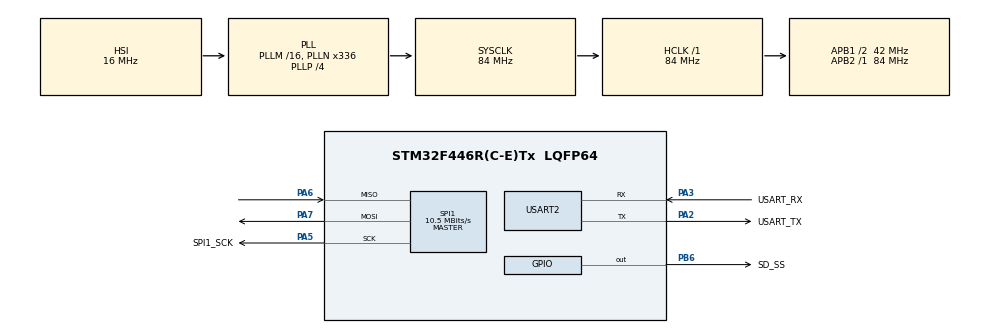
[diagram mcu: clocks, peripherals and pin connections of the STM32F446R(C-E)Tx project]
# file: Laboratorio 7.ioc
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Dma.Request0=USART2_RX
Dma.Request1=USART2_TX
Dma.USART2_RX.0.Direction=DMA_PERIPH_TO_MEMORY
Dma.USART2_RX.0.FIFOMode=DMA_FIFOMODE_DISABLE
Dma.USART2_RX.0.Instance=DMA1_Stream5
Dma.USART2_RX.0.MemDataAlignment=DMA_MDATAALIGN_BYTE
Dma.USART2_RX.0.MemInc=DMA_MINC_ENABLE
Dma.USART2_RX.0.Mode=DMA_NORMAL
Dma.USART2_RX.0.PeriphDataAlignment=DMA_PDATAALIGN_BYTE
Dma.USART2_RX.0.PeriphInc=DMA_PINC_DISABLE
Dma.USART2_RX.0.Priority=DMA_PRIORITY_LOW
Dma.USART2_TX.1.Direction=DMA_MEMORY_TO_PERIPH
Dma.USART2_TX.1.FIFOMode=DMA_FIFOMODE_DISABLE
Dma.USART2_TX.1.Instance=DMA1_Stream6
Dma.USART2_TX.1.MemDataAlignment=DMA_MDATAALIGN_BYTE
Dma.USART2_TX.1.MemInc=DMA_MINC_ENABLE
Dma.USART2_TX.1.Mode=DMA_NORMAL
Dma.USART2_TX.1.PeriphDataAlignment=DMA_PDATAALIGN_BYTE
Dma.USART2_TX.1.PeriphInc=DMA_PINC_DISABLE
Dma.USART2_TX.1.Priority=DMA_PRIORITY_LOW
FATFS._MAX_SS=4096
FATFS._USE_LFN=1
Mcu.Family=STM32F4
Mcu.Name=STM32F446R(C-E)Tx
Mcu.Package=LQFP64
NVIC.DMA1_Stream5_IRQn=true\:0\:0\:false\:false\:true\:false\:true\:true
NVIC.DMA1_Stream6_IRQn=true\:0\:0\:false\:false\:true\:false\:true\:true
NVIC.PriorityGroup=NVIC_PRIORITYGROUP_0
NVIC.USART2_IRQn=true\:0\:0\:false\:false\:true\:true\:true\:true
PA2.GPIO_Label=USART_TX
PA2.Mode=Asynchronous
PA2.Signal=USART2_TX
PA3.GPIO_Label=USART_RX
PA3.Mode=Asynchronous
PA3.Signal=USART2_RX
PA5.GPIO_Label=SPI1_SCK
PA5.Mode=Full_Duplex_Master
PA5.Signal=SPI1_SCK
PA6.Mode=Full_Duplex_Master
PA6.Signal=SPI1_MISO
PA7.Mode=Full_Duplex_Master
PA7.Signal=SPI1_MOSI
PB6.GPIO_Label=SD_SS
PB6.GPIO_Speed=GPIO_SPEED_FREQ_MEDIUM
PB6.PinState=GPIO_PIN_SET
PB6.Signal=GPIO_Output
PC14-OSC32_IN.Mode=LSE-External-Oscillator
PC14-OSC32_IN.Signal=RCC_OSC32_IN
PC15-OSC32_OUT.Mode=LSE-External-Oscillator
PC15-OSC32_OUT.Signal=RCC_OSC32_OUT
PH0-OSC_IN.Mode=HSE-External-Oscillator
PH0-OSC_IN.Signal=RCC_OSC_IN
PH1-OSC_OUT.Mode=HSE-External-Oscillator
PH1-OSC_OUT.Signal=RCC_OSC_OUT
ProjectManager.HeapSize=0x200
ProjectManager.StackSize=0x400
ProjectManager.TargetToolchain=STM32CubeIDE
RCC.48MHZClocksFreq_Value=84000000
RCC.AHBFreq_Value=84000000
RCC.APB1CLKDivider=RCC_HCLK_DIV2
RCC.APB1Freq_Value=42000000
RCC.APB1TimFreq_Value=84000000
RCC.APB2Freq_Value=84000000
RCC.APB2TimFreq_Value=84000000
RCC.CortexFreq_Value=84000000
RCC.FLatency-AdvancedSettings=FLASH_LATENCY_2
RCC.HCLKFreq_Value=84000000
RCC.HSE_VALUE=8000000
RCC.HSI_VALUE=16000000
RCC.PLLN=336
RCC.PLLP=RCC_PLLP_DIV4
RCC.SYSCLKFreq_VALUE=84000000
RCC.SYSCLKSource=RCC_SYSCLKSOURCE_PLLCLK
RCC.USBFreq_Value=168000000
RCC.VCOOutputFreq_Value=336000000
SPI1.BaudRatePrescaler=SPI_BAUDRATEPRESCALER_8
SPI1.CalculateBaudRate=10.5 MBits/s
SPI1.Direction=SPI_DIRECTION_2LINES
SPI1.Mode=SPI_MODE_MASTER
SPI1.VirtualType=VM_MASTER
USART2.VirtualMode=VM_ASYNC
VP_FATFS_VS_Generic.Mode=User_defined
board=NUCLEO-F446RE

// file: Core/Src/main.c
/* USER CODE BEGIN Header */
/**
  ******************************************************************************
  * @file           : main.c
  * @brief          : Main program body
  ******************************************************************************
  * @attention
  *
  * Copyright (c) 2025 STMicroelectronics.
  * All rights reserved.
  *
  * This software is licensed under terms that can be found in the LICENSE file
  * in the root directory of this software component.
  * If no LICENSE file comes with this software, it is provided AS-IS.
  *
  ******************************************************************************
  */
/* USER CODE END Header */
#include "main.h"
#include "fatfs.h"

/* USER CODE BEGIN Includes */
#include "fatfs_sd.h"
#include "string.h"
#include "stdio.h"
#include <stdio.h>
#include <string.h>
/* USER CODE END Includes */

SPI_HandleTypeDef hspi1;

UART_HandleTypeDef huart2;
DMA_HandleTypeDef hdma_usart2_rx;
DMA_HandleTypeDef hdma_usart2_tx;

/* USER CODE BEGIN PV */
SPI_HandleTypeDef hspi1;
FATFS fs;
FATFS *pfs;
FIL fil;
FRESULT fres;
DWORD fre_clust;
uint32_t totalSpace, freeSpace;
char buffer[100];

uint8_t rxData;			// Para recibir el mensaje
int flag = 0;
char msg[100];			// Para enviar el mensaje
volatile uint8_t userChoice = 0; // Variable para almacenar la selección del usuario
int salir = 0;

/* USER CODE END PV */

void SystemClock_Config(void);
static void MX_GPIO_Init(void);
static void MX_DMA_Init(void);
static void MX_USART2_UART_Init(void);
static void MX_SPI1_Init(void);

/* USER CODE BEGIN 0 */
// Función para enviar texto por UART
void transmit_uart_it(char *string) {
    HAL_UART_Transmit(&huart2, (uint8_t*)string, strlen(string), HAL_MAX_DELAY);
}

// Función para mostrar el menú
void show_menu() {
	transmit_uart_it("\nSeleccione un archivo de texto para visualizar:\n");
	transmit_uart_it("1 - archivo1.txt\n");
	transmit_uart_it("2 - archivo2.txt\n");
	transmit_uart_it("3 - archivo3.txt\n");
	transmit_uart_it("4 - salir\n");
	transmit_uart_it("Ingrese su opción: ");
}

// Función para leer un archivo de texto desde la SD y enviarlo por UART
void read_text_file(const char *filename) {
    fres = f_open(&fil, filename, FA_READ);
    if (fres == FR_OK) {
        transmit_uart_it("\nArchivo abierto correctamente.\n");

        while (f_gets(buffer, sizeof(buffer), &fil)) {
            transmit_uart_it(buffer);
        }

        f_close(&fil); // Cerrar archivo después de leer
        if (fres == FR_OK) {
          transmit_uart_it("The file is closed.\n");
        } else if (fres != FR_OK) {
          transmit_uart_it("The file was not closed.\n");
        }
        //transmit_uart_it("\nArchivo cerrado correctamente.\n");
    } else {
        transmit_uart_it("\nError al abrir el archivo.\n");
    }
}
/* USER CODE END 0 */

int main(void)
{

  /* MCU Configuration--------------------------------------------------------*/

  /* Reset of all peripherals, Initializes the Flash interface and the Systick. */
  HAL_Init();

  /* Configure the system clock */
  SystemClock_Config();

  /* Initialize all configured peripherals */
  MX_GPIO_Init();
  MX_DMA_Init();
  MX_USART2_UART_Init();
  MX_SPI1_Init();
  MX_FATFS_Init();
  /* USER CODE BEGIN 2 */

  //Montar SD
  fres = f_mount(&fs, "/", 0);
  if (fres == FR_OK) {
    transmit_uart_it("Micro SD card is mounted successfully!\n");
  } else if (fres != FR_OK) {
    transmit_uart_it("Micro SD card's mount error!\n");
  }

  HAL_UART_Receive_IT(&huart2, &rxData, 1); // Activar interrupción UART
  /* USER CODE END 2 */

  /* Infinite loop */
  /* USER CODE BEGIN WHILE */
  while (1){
	  show_menu();
	  while (userChoice == 0); // Esperar a que el usuario ingrese una opción

	  switch (userChoice) {
	  	  case '1': read_text_file("archivo1.txt"); break;
	  	  case '2': read_text_file("archivo2.txt"); break;
	  	  case '3': read_text_file("archivo3.txt"); break;
	  	  case '4': transmit_uart_it("\nsalio\n"); salir = 1; break;
	  	  default: transmit_uart_it("\nOpción no válida.\n"); break;
	  }

	  if (salir == 1) {
		  f_mount(NULL, "", 1);
		  if (fres == FR_OK) {
		    transmit_uart_it("The Micro SD card is unmounted!\n");
		  } else if (fres != FR_OK) {
		    transmit_uart_it("The Micro SD was not unmounted!");
		  }
	  }
    /* USER CODE END WHILE */

    /* USER CODE BEGIN 3 */
	  userChoice = 0; // Resetear la opción del usuario para la próxima iteración
	  salir = 0;
	  //HAL_Delay(1000);
  }
  /* USER CODE END 3 */
}

void SystemClock_Config(void)
{
  RCC_OscInitTypeDef RCC_OscInitStruct = {0};
  RCC_ClkInitTypeDef RCC_ClkInitStruct = {0};

  /** Configure the main internal regulator output voltage
  */
  __HAL_RCC_PWR_CLK_ENABLE();
  __HAL_PWR_VOLTAGESCALING_CONFIG(PWR_REGULATOR_VOLTAGE_SCALE3);

  /** Initializes the RCC Oscillators according to the specified parameters
  * in the RCC_OscInitTypeDef structure.
  */
  RCC_OscInitStruct.OscillatorType = RCC_OSCILLATORTYPE_HSI;
  RCC_OscInitStruct.HSIState = RCC_HSI_ON;
  RCC_OscInitStruct.HSICalibrationValue = RCC_HSICALIBRATION_DEFAULT;
  RCC_OscInitStruct.PLL.PLLState = RCC_PLL_ON;
  RCC_OscInitStruct.PLL.PLLSource = RCC_PLLSOURCE_HSI;
  RCC_OscInitStruct.PLL.PLLM = 16;
  RCC_OscInitStruct.PLL.PLLN = 336;
  RCC_OscInitStruct.PLL.PLLP = RCC_PLLP_DIV4;
  RCC_OscInitStruct.PLL.PLLQ = 2;
  RCC_OscInitStruct.PLL.PLLR = 2;
  if (HAL_RCC_OscConfig(&RCC_OscInitStruct) != HAL_OK)
  {
    Error_Handler();
  }

  /** Initializes the CPU, AHB and APB buses clocks
  */
  RCC_ClkInitStruct.ClockType = RCC_CLOCKTYPE_HCLK|RCC_CLOCKTYPE_SYSCLK
                              |RCC_CLOCKTYPE_PCLK1|RCC_CLOCKTYPE_PCLK2;
  RCC_ClkInitStruct.SYSCLKSource = RCC_SYSCLKSOURCE_PLLCLK;
  RCC_ClkInitStruct.AHBCLKDivider = RCC_SYSCLK_DIV1;
  RCC_ClkInitStruct.APB1CLKDivider = RCC_HCLK_DIV2;
  RCC_ClkInitStruct.APB2CLKDivider = RCC_HCLK_DIV1;

  if (HAL_RCC_ClockConfig(&RCC_ClkInitStruct, FLASH_LATENCY_2) != HAL_OK)
  {
    Error_Handler();
  }
}

static void MX_SPI1_Init(void)
{

  /* SPI1 parameter configuration*/
  hspi1.Instance = SPI1;
  hspi1.Init.Mode = SPI_MODE_MASTER;
  hspi1.Init.Direction = SPI_DIRECTION_2LINES;
  hspi1.Init.DataSize = SPI_DATASIZE_8BIT;
  hspi1.Init.CLKPolarity = SPI_POLARITY_LOW;
  hspi1.Init.CLKPhase = SPI_PHASE_1EDGE;
  hspi1.Init.NSS = SPI_NSS_SOFT;
  hspi1.Init.BaudRatePrescaler = SPI_BAUDRATEPRESCALER_8;
  hspi1.Init.FirstBit = SPI_FIRSTBIT_MSB;
  hspi1.Init.TIMode = SPI_TIMODE_DISABLE;
  hspi1.Init.CRCCalculation = SPI_CRCCALCULATION_DISABLE;
  hspi1.Init.CRCPolynomial = 10;
  if (HAL_SPI_Init(&hspi1) != HAL_OK)
  {
    Error_Handler();
  }

}

static void MX_USART2_UART_Init(void)
{

  huart2.Instance = USART2;
  huart2.Init.BaudRate = 115200;
  huart2.Init.WordLength = UART_WORDLENGTH_8B;
  huart2.Init.StopBits = UART_STOPBITS_1;
  huart2.Init.Parity = UART_PARITY_NONE;
  huart2.Init.Mode = UART_MODE_TX_RX;
  huart2.Init.HwFlowCtl = UART_HWCONTROL_NONE;
  huart2.Init.OverSampling = UART_OVERSAMPLING_16;
  if (HAL_UART_Init(&huart2) != HAL_OK)
  {
    Error_Handler();
  }

}

static void MX_DMA_Init(void)
{

  /* DMA controller clock enable */
  __HAL_RCC_DMA1_CLK_ENABLE();

  /* DMA interrupt init */
  /* DMA1_Stream5_IRQn interrupt configuration */
  HAL_NVIC_SetPriority(DMA1_Stream5_IRQn, 0, 0);
  HAL_NVIC_EnableIRQ(DMA1_Stream5_IRQn);
  /* DMA1_Stream6_IRQn interrupt configuration */
  HAL_NVIC_SetPriority(DMA1_Stream6_IRQn, 0, 0);
  HAL_NVIC_EnableIRQ(DMA1_Stream6_IRQn);

}

static void MX_GPIO_Init(void)
{
  GPIO_InitTypeDef GPIO_InitStruct = {0};

  /* GPIO Ports Clock Enable */
  __HAL_RCC_GPIOC_CLK_ENABLE();
  __HAL_RCC_GPIOH_CLK_ENABLE();
  __HAL_RCC_GPIOA_CLK_ENABLE();
  __HAL_RCC_GPIOB_CLK_ENABLE();

  /*Configure GPIO pin Output Level */
  HAL_GPIO_WritePin(SD_SS_GPIO_Port, SD_SS_Pin, GPIO_PIN_SET);

  /*Configure GPIO pin : SD_SS_Pin */
  GPIO_InitStruct.Pin = SD_SS_Pin;
  GPIO_InitStruct.Mode = GPIO_MODE_OUTPUT_PP;
  GPIO_InitStruct.Pull = GPIO_NOPULL;
  GPIO_InitStruct.Speed = GPIO_SPEED_FREQ_MEDIUM;
  HAL_GPIO_Init(SD_SS_GPIO_Port, &GPIO_InitStruct);

}

/* USER CODE BEGIN 4 */
void HAL_UART_RxCpltCallback(UART_HandleTypeDef *huart) {
    if (huart->Instance == USART2) {
    	userChoice = rxData;
    	HAL_UART_Receive_IT(&huart2, &rxData, 1); // Habilita la recepción por interrupción
    }
}

/* USER CODE END 4 */

void Error_Handler(void)
{
  __disable_irq();
  while (1)
  {
  }
}
